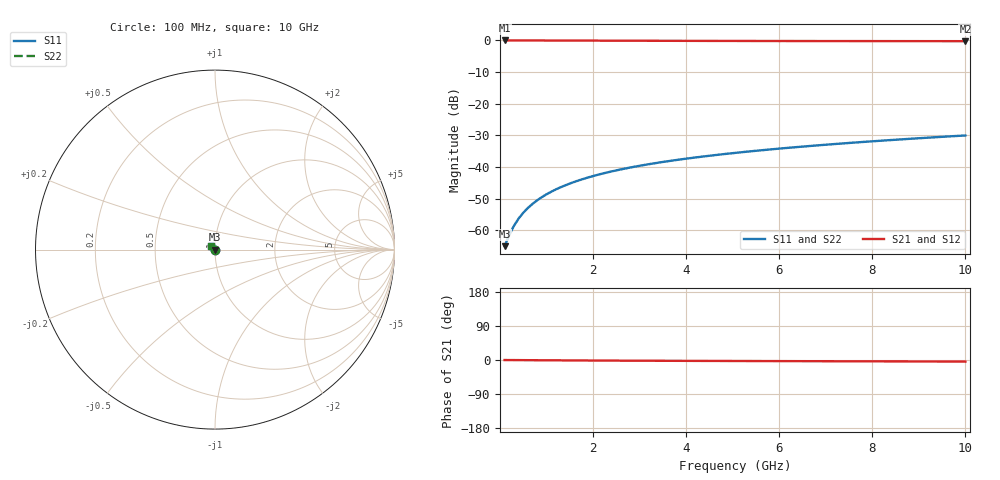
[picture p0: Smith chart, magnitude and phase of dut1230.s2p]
! Touchstone file exported from HFSS 2024.1.0
!  File:  C:/UserFiles/LocalFiles/RDL_TSV_Batchsim/temp_TSV1_1230_1780250367.aedt
!  Generated:  02:07:56 AM Jun  1, 2026
!  Design:  TSV1
!  Project:  temp_TSV1_1230_1780250367
!  Setup:  Setup1
!  Solution:  Sweep
! Variables:
!  dtsv = 5.06um
!  hbump = 3um
!  htsv = 56.52um
!  lrdl = 252.1521522um
!  p = 40
!  p1 = 51.58um
!  t = 500um
!  trdl = 3um
!  wrdl = 24.89489489um
# GHz S MA R 50.000000
! Terminal data exported
! Port[1] = TSV22_T1
! Port[2] = TSV22_T2
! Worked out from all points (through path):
!   100 points, 100 MHz to 10 GHz, reference 50 ohm
!   highest |S21| = 0.00 dB at 100 MHz (marker M1); lowest = -0.2 dB at 10 GHz (marker M2)
!   lowest |S11| = -65.0 dB at 100 MHz (marker M3), VSWR 1.00, Z = 50 - j0.0383 ohm
!   |S11| at or under -10 dB: start of sweep to end of sweep
!   |S22| runs from -65.0 to -30.0 dB; largest |S21 - S12| = 7.1e-15
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0.1  0.0005629 -42.8  0.9995 -0.1  0.9995 -0.1  0.0005629 -42.8
! Gamma 0 0 0 0
! Port Impedance 50 0 50 0
0.2  0.0008442 -65.4  0.9995 -0.2  0.9995 -0.2  0.0008442 -65.4
0.3  0.001179 -77.5  0.9994 -0.2  0.9994 -0.2  0.001179 -77.5
0.4  0.001533 -85.2  0.9992 -0.3  0.9992 -0.3  0.001533 -85.2
0.5  0.001895 -91.0  0.9991 -0.4  0.9991 -0.4  0.001895 -91.0
0.6  0.002259 -95.8  0.9989 -0.5  0.9989 -0.5  0.002258 -95.8
0.7  0.002623 -99.9  0.9986 -0.5  0.9986 -0.5  0.002623 -99.9
0.9  0.00335 -107.1  0.9981 -0.7  0.9981 -0.7  0.00335 -107.1
1  0.003712 -110.3  0.9978 -0.8  0.9978 -0.8  0.003712 -110.3
1.2  0.004429 -116.4  0.9971 -0.9  0.9971 -0.9  0.004429 -116.4
1.5  0.005489 -124.8  0.9959 -1.1  0.9959 -1.1  0.005489 -124.8
1.8  0.006527 -132.6  0.9946 -1.3  0.9946 -1.3  0.006527 -132.6
2.1  0.007544 -139.7  0.9932 -1.4  0.9932 -1.4  0.007544 -139.7
2.5  0.008866 -148.6  0.9914 -1.6  0.9914 -1.6  0.008866 -148.6
2.9  0.01015 -156.7  0.9895 -1.8  0.9895 -1.8  0.01015 -156.7
3.4  0.01173 -165.7  0.9874 -2.0  0.9874 -2.0  0.01173 -165.7
4.2  0.01418 -178.2  0.9843 -2.3  0.9843 -2.3  0.01418 -178.2
5.1  0.01688 170.2  0.9815 -2.7  0.9815 -2.7  0.01688 170.2
5.9  0.01926 161.8  0.9795 -2.9  0.9795 -2.9  0.01926 161.8
6.7  0.02164 154.6  0.9779 -3.2  0.9779 -3.2  0.02164 154.6
8.4  0.02672 142.8  0.9753 -3.7  0.9753 -3.7  0.02672 142.8
10  0.03156 134.5  0.9735 -4.2  0.9735 -4.2  0.03156 134.5
